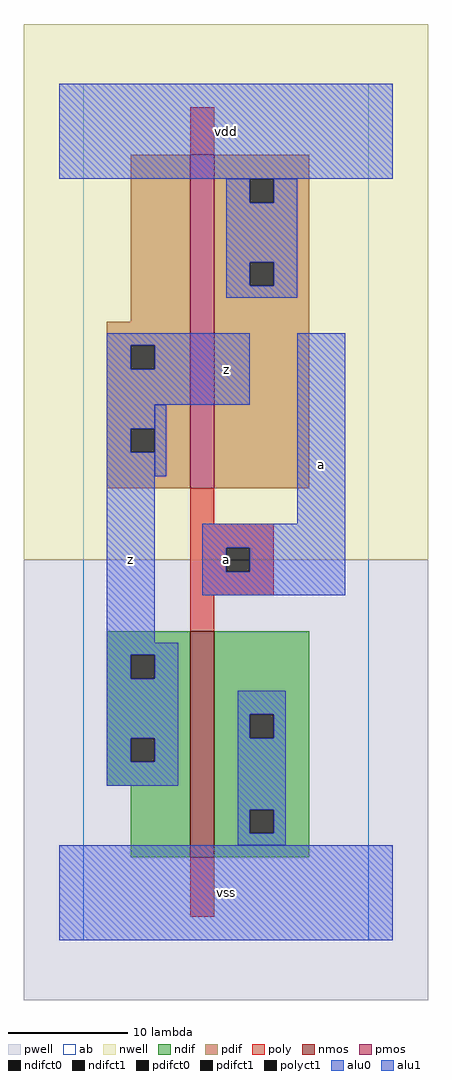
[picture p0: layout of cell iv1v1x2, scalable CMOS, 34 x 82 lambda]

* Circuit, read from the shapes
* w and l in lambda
.subckt iv1v1x2 a vdd vss z
M1 vss a z VSUBS nfet w=19 l=2
M2 vdd a z n1 pfet w=28 l=2
.ends

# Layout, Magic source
magic
tech scmos
<< ab >>
rect 0 0 24 72
<< nwell >>
rect -5 32 29 77
<< pwell >>
rect -5 -5 29 32
<< poly >>
rect 9 66 11 70
rect 9 35 11 38
rect 9 33 16 35
rect 9 31 12 33
rect 14 31 16 33
rect 9 29 16 31
rect 9 26 11 29
rect 9 2 11 7
<< ndif >>
rect 2 24 9 26
rect 2 22 4 24
rect 6 22 9 24
rect 2 17 9 22
rect 2 15 4 17
rect 6 15 9 17
rect 2 13 9 15
rect 4 7 9 13
rect 11 19 19 26
rect 11 17 14 19
rect 16 17 19 19
rect 11 11 19 17
rect 11 9 14 11
rect 16 9 19 11
rect 11 7 19 9
<< pdif >>
rect 4 52 9 66
rect 2 50 9 52
rect 2 48 4 50
rect 6 48 9 50
rect 2 43 9 48
rect 2 41 4 43
rect 6 41 9 43
rect 2 38 9 41
rect 11 64 19 66
rect 11 62 14 64
rect 16 62 19 64
rect 11 57 19 62
rect 11 55 14 57
rect 16 55 19 57
rect 11 38 19 55
<< alu1 >>
rect -2 64 26 72
rect 2 50 14 51
rect 2 48 4 50
rect 6 48 14 50
rect 2 45 14 48
rect 2 43 6 45
rect 2 41 4 43
rect 2 25 6 41
rect 18 35 22 51
rect 10 33 22 35
rect 10 31 12 33
rect 14 31 22 33
rect 10 29 22 31
rect 2 24 8 25
rect 2 22 4 24
rect 6 22 8 24
rect 2 17 8 22
rect 2 15 4 17
rect 6 15 8 17
rect 2 13 8 15
rect -2 0 26 8
<< nmos >>
rect 9 7 11 26
<< pmos >>
rect 9 38 11 66
<< polyct1 >>
rect 12 31 14 33
<< ndifct0 >>
rect 14 17 16 19
rect 14 9 16 11
<< ndifct1 >>
rect 4 22 6 24
rect 4 15 6 17
<< pdifct0 >>
rect 14 62 16 64
rect 14 55 16 57
<< pdifct1 >>
rect 4 48 6 50
rect 4 41 6 43
<< alu0 >>
rect 12 62 14 64
rect 16 62 18 64
rect 12 57 18 62
rect 12 55 14 57
rect 16 55 18 57
rect 12 54 18 55
rect 6 39 7 45
rect 13 19 17 21
rect 13 17 14 19
rect 16 17 17 19
rect 13 11 17 17
rect 13 9 14 11
rect 16 9 17 11
rect 13 8 17 9
<< labels >>
rlabel alu1 4 32 4 32 6 z
rlabel alu1 12 4 12 4 6 vss
rlabel alu1 12 32 12 32 6 a
rlabel alu1 12 48 12 48 6 z
rlabel alu1 12 68 12 68 6 vdd
rlabel alu1 20 40 20 40 6 a
<< end >>
